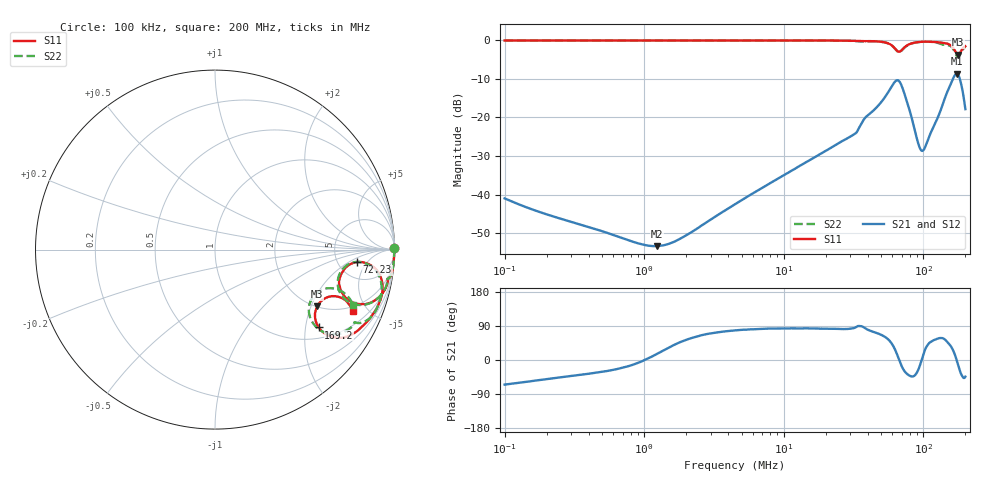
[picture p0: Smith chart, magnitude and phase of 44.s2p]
#  HZ  S  RI  R  50.00
! Rohde & Schwarz Vector Network Analyzer
! Rohde-Schwarz,ZNLE6-2Port,1323001256200024,1.71.1.10-23.02.1.238
! Created: UTC 4/7/2025, 2:53:10 AM
! freq[Hz]  re:S11  im:S11  re:S21  im:S21  re:S12  im:S12  re:S22  im:S22
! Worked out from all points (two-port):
!   1001 points, 100 kHz to 200 MHz, reference 50 ohm
!   highest |S21| = -8.61 dB at 173.1 MHz (marker M1); lowest = -53.4 dB at 1.228 MHz (marker M2)
!   |S21| within 3 dB of the highest: 60.05 MHz to 69.59 MHz (9.539 MHz wide, 14.7 % of centre); 155.8 MHz to 187.2 MHz (31.39 MHz wide, 18.3 % of centre)
!   lowest |S11| = -3.7 dB at 177.1 MHz (marker M3), VSWR 4.73, Z = 101 - j111 ohm
!   |S11| at or under -10 dB: nowhere
!   |S22| runs from -4.4 to 0.0 dB; largest |S21 - S12| = 0.0095
!   S11 on the Smith chart (normalised r, x): 100 kHz: open; 72.23 MHz: 7.63, -2.89; 169.2 MHz: 1.30, -2.37; 200 MHz: 1.74, -4.02
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100000  0.9964 0.0079  0.00378 -0.00807  0.00379 -0.00809  0.9964 0.00777
355854.1  0.9969 0.00162  0.00316 -0.00253  0.00317 -0.00253  0.9969 0.00156
1228400  0.998 -0.00363  0.00206 0.000578  0.00207 0.000582  0.998 -0.00376
1266322  0.998 -0.00388  0.00204 0.000674  0.00204 0.000678  0.9981 -0.00394
1851806  0.9981 -0.00668  0.00181 0.00205  0.00181 0.00205  0.9983 -0.00693
4472136  0.9982 -0.0193  0.00155 0.00734  0.00161 0.00732  0.9984 -0.0197
1.591428e7  0.9953 -0.0691  0.00344 0.0289  0.00365 0.0288  0.9954 -0.072
3.251501e7  0.9748 -0.1538  0.00467 0.0617  0.00598 0.0614  0.9686 -0.1594
3.814218e7  0.9629 -0.17  0.0102 0.0979  0.0103 0.0975  0.9563 -0.1682
4.683098e7  0.9438 -0.2273  0.0461 0.1308  0.0472 0.1295  0.942 -0.2285
5.663162e7  0.857 -0.299  0.134 0.1752  0.1371 0.1716  0.8534 -0.3021
6.493481e7  0.6982 -0.2185  0.2958 0.0725  0.2962 0.0704  0.6892 -0.2219
7.222574e7  0.7916 -0.0696  0.1964 -0.0963  0.1944 -0.101  0.7847 -0.0686
9.211385e7  0.9329 -0.1923  0.0411 -0.0193  0.0409 -0.0205  0.9282 -0.2007
9.863572e7  0.9326 -0.2336  0.0366 0.00515  0.0369 0.00433  0.9267 -0.2457
1.378096e8  0.8317 -0.4175  0.0801 0.1256  0.0811 0.1236  0.7812 -0.4046
1.568184e8  0.7141 -0.49  0.2155 0.1633  0.2162 0.1576  0.7004 -0.4673
1.692027e8  0.5779 -0.4338  0.3528 0.0696  0.3517 0.0609  0.5489 -0.414
1.731053e8  0.5573 -0.3779  0.3713 -0.00179  0.3692 -0.0106  0.5235 -0.3515
1.770979e8  0.5696 -0.3152  0.3532 -0.0809  0.3502 -0.0894  0.5358 -0.2798
1.867759e8  0.6868 -0.2629  0.2123 -0.164  0.2085 -0.1704  0.6649 -0.2171
2e8  0.7687 -0.3395  0.0924 -0.0891  0.0908 -0.0924  0.7697 -0.31
